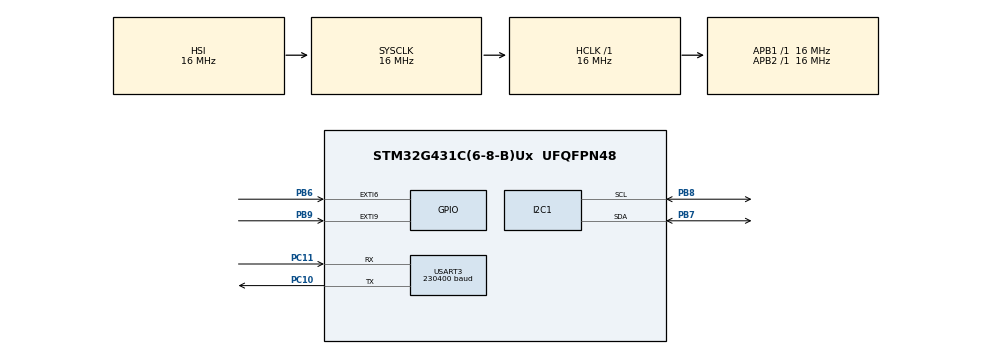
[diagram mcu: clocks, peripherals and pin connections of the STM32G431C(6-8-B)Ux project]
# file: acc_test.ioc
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I2C1.Timing=0x00503D58
Mcu.Family=STM32G4
Mcu.Name=STM32G431C(6-8-B)Ux
Mcu.Package=UFQFPN48
NVIC.EXTI9_5_IRQn=true\:0\:0\:false\:false\:true\:true\:true\:true
NVIC.PriorityGroup=NVIC_PRIORITYGROUP_4
PA13.Mode=Serial_Wire
PA13.Signal=SYS_JTMS-SWDIO
PA14.Mode=Serial_Wire
PA14.Signal=SYS_JTCK-SWCLK
PB6.Signal=GPXTI6
PB7.Mode=I2C
PB7.Signal=I2C1_SDA
PB8-BOOT0.Mode=I2C
PB8-BOOT0.Signal=I2C1_SCL
PB9.Signal=GPXTI9
PC10.Mode=Asynchronous
PC10.Signal=USART3_TX
PC11.Mode=Asynchronous
PC11.Signal=USART3_RX
ProjectManager.HeapSize=0x200
ProjectManager.StackSize=0x400
ProjectManager.TargetToolchain=STM32CubeIDE
RCC.AHBFreq_Value=16000000
RCC.APB1Freq_Value=16000000
RCC.APB1TimFreq_Value=16000000
RCC.APB2Freq_Value=16000000
RCC.APB2TimFreq_Value=16000000
RCC.CortexFreq_Value=16000000
RCC.EXTERNAL_CLOCK_VALUE=12288000
RCC.HCLKFreq_Value=16000000
RCC.HSE_VALUE=8000000
RCC.HSI48_VALUE=48000000
RCC.HSI_VALUE=16000000
RCC.LSE_VALUE=32768
RCC.SYSCLKFreq_VALUE=16000000
RCC.USBFreq_Value=64000000
RCC.VCOOutputFreq_Value=128000000
USART3.BaudRate=230400
USART3.VirtualMode-Asynchronous=VM_ASYNC
VP_SYS_VS_DBSignals.Mode=DisableDeadBatterySignals
board=custom

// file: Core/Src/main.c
/* USER CODE BEGIN Header */
/**
 ******************************************************************************
 * @file           : main.c
 * @brief          : Main program body
 ******************************************************************************
 * @attention
 *
 * Copyright (c) 2025 STMicroelectronics.
 * All rights reserved.
 *
 * This software is licensed under terms that can be found in the LICENSE file
 * in the root directory of this software component.
 * If no LICENSE file comes with this software, it is provided AS-IS.
 *
 ******************************************************************************
 */
/* USER CODE END Header */
#include "main.h"
#include "i2c.h"
#include "usart.h"
#include "gpio.h"

/* USER CODE BEGIN Includes */
#include <stdio.h>
#include "ADXL343.h"
/* USER CODE END Includes */

void SystemClock_Config(void);

/* USER CODE BEGIN 0 */

int __io_putchar(int chr)
{
	HAL_UART_Transmit(&huart3, (uint8_t*) &chr, 1, HAL_MAX_DELAY);
	return chr;
}

h_ADXL343_t h_ADXL343 = {
		.hi2c = &hi2c1,
		.int_pin = GPIO_PIN_9
};

void HAL_GPIO_EXTI_Callback(uint16_t GPIO_Pin)
{
	ADXL343_IntCallback(&h_ADXL343, GPIO_Pin);
}

/* USER CODE END 0 */

int main(void)
{

  /* MCU Configuration--------------------------------------------------------*/

  /* Reset of all peripherals, Initializes the Flash interface and the Systick. */
  HAL_Init();

  /* Configure the system clock */
  SystemClock_Config();

  /* Initialize all configured peripherals */
  MX_GPIO_Init();
  MX_I2C1_Init();
  MX_USART3_UART_Init();
  /* USER CODE BEGIN 2 */

	printf("\r\n======== Starting ADXL343 example ========= \r\n");

	HAL_NVIC_DisableIRQ(EXTI9_5_IRQn);
	ADXL343_Init(&h_ADXL343);
	HAL_NVIC_EnableIRQ(EXTI9_5_IRQn);

  /* USER CODE END 2 */

  /* Infinite loop */
  /* USER CODE BEGIN WHILE */
	while (1)
	{
//		uint8_t val;
//		int16_t x, y;
//
//		ADXL343_Read(0x2b, &val, 1);
//		printf("ADXL343 tap source : 0x%02X\r\n", val);
//
//		ADXL343_Read(REG_INT_SOURCE, &val, 1);
//		printf("ADXL343 int source : 0x%02X\r\n", val);
//
//		HAL_Delay(500);

		//		uint8_t val;
		//		ADXL343_Read(REG_INT_SOURCE, &val, 1);	// lecture pour reset des interruptions
		//		printf("ADXL343 int source : 0x%02X\r\n", val);
		//
		//		if ((val & 0x80) != 0)
		//		{
		//			int16_t x, y;
		//			uint8_t val;
		//
		//
		//			ADXL343_ReadXY(&x, &y);
		//
		//			printf("ACC x: %d, y: %d\r\n", x, y);
		//
		//		}
    /* USER CODE END WHILE */

	}
}

void SystemClock_Config(void)
{
  RCC_OscInitTypeDef RCC_OscInitStruct = {0};
  RCC_ClkInitTypeDef RCC_ClkInitStruct = {0};

  /** Configure the main internal regulator output voltage
  */
  HAL_PWREx_ControlVoltageScaling(PWR_REGULATOR_VOLTAGE_SCALE1);

  /** Initializes the RCC Oscillators according to the specified parameters
  * in the RCC_OscInitTypeDef structure.
  */
  RCC_OscInitStruct.OscillatorType = RCC_OSCILLATORTYPE_HSI;
  RCC_OscInitStruct.HSIState = RCC_HSI_ON;
  RCC_OscInitStruct.HSICalibrationValue = RCC_HSICALIBRATION_DEFAULT;
  RCC_OscInitStruct.PLL.PLLState = RCC_PLL_NONE;
  if (HAL_RCC_OscConfig(&RCC_OscInitStruct) != HAL_OK)
  {
    Error_Handler();
  }

  /** Initializes the CPU, AHB and APB buses clocks
  */
  RCC_ClkInitStruct.ClockType = RCC_CLOCKTYPE_HCLK|RCC_CLOCKTYPE_SYSCLK
                              |RCC_CLOCKTYPE_PCLK1|RCC_CLOCKTYPE_PCLK2;
  RCC_ClkInitStruct.SYSCLKSource = RCC_SYSCLKSOURCE_HSI;
  RCC_ClkInitStruct.AHBCLKDivider = RCC_SYSCLK_DIV1;
  RCC_ClkInitStruct.APB1CLKDivider = RCC_HCLK_DIV1;
  RCC_ClkInitStruct.APB2CLKDivider = RCC_HCLK_DIV1;

  if (HAL_RCC_ClockConfig(&RCC_ClkInitStruct, FLASH_LATENCY_0) != HAL_OK)
  {
    Error_Handler();
  }
}

void Error_Handler(void)
{
	__disable_irq();
	while (1)
	{
	}
}
